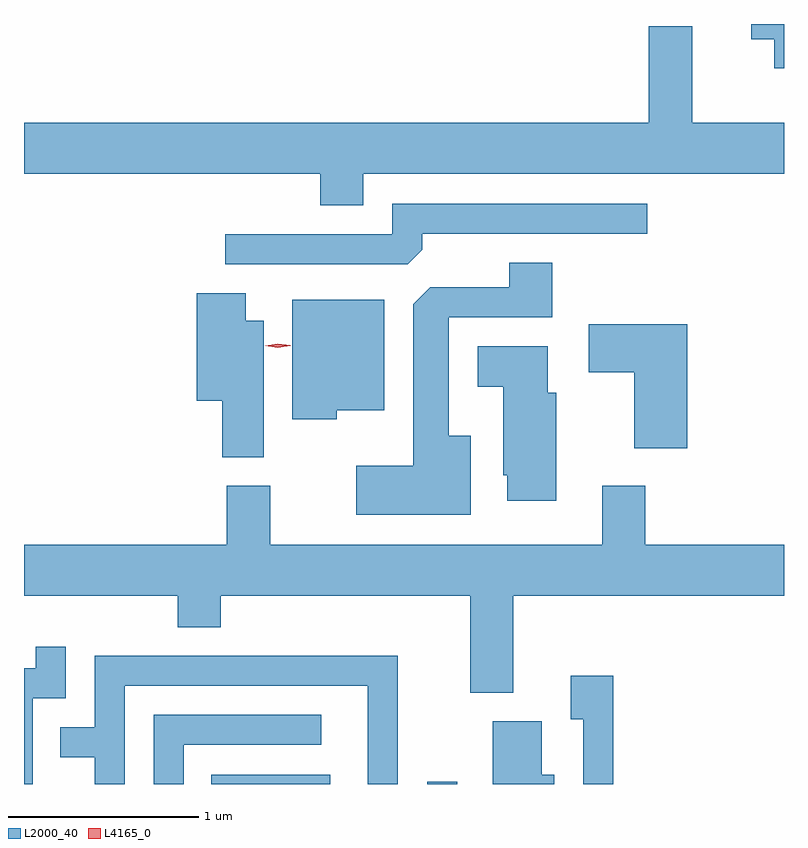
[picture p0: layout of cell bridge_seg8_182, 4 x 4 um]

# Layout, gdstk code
import gdstk
lib = gdstk.Library(unit=1e-6, precision=1e-09)
def R(c, l, rs):  # rectangles x0, y0, x1, y1
    for r in rs: c.add(gdstk.rectangle(r[:2], r[2:], *l))
def P(c, l, *ps):  # polygons
    for p in ps: c.add(gdstk.Polygon(p, *l))
L2000_40 = (2000, 40)
L4165_0 = (4165, 0)

bridge_seg8_182 = lib.new_cell('bridge_seg8_182')
R(bridge_seg8_182, L2000_40, [(1141.348,1886.485,1141.974,1886.534), (1142.486,1886.485,1142.644,1886.498)])
P(bridge_seg8_182, L2000_40, [(1144.363,1890.485),(1144.191,1890.485),(1144.191,1890.406),(1144.311,1890.406),(1144.311,1890.251),(1144.363,1890.251)],
  [(1142.149,1889.696),(1144.363,1889.696),(1144.363,1889.964),(1143.879,1889.964),(1143.879,1890.474),(1143.651,1890.474),(1143.651,1889.964),(1140.363,1889.964),(1140.363,1889.696),(1141.921,1889.696),(1141.921,1889.531),(1142.149,1889.531)],
  [(1142.459,1889.297),(1142.459,1889.381),(1143.643,1889.381),(1143.643,1889.539),(1142.301,1889.539),(1142.301,1889.379),(1141.423,1889.379),(1141.423,1889.221),(1142.384,1889.221)],
  [(1142.714,1888.319),(1142.599,1888.319),(1142.599,1888.941),(1143.144,1888.941),(1143.144,1889.229),(1142.916,1889.229),(1142.916,1889.099),(1142.502,1889.099),(1142.411,1889.009),(1142.411,1888.159),(1142.111,1888.159),(1142.111,1887.901),(1142.714,1887.901)],
  [(1141.624,1888.924),(1141.529,1888.924),(1141.529,1889.069),(1141.271,1889.069),(1141.271,1888.501),(1141.406,1888.501),(1141.406,1888.206),(1141.624,1888.206)],
  [(1142.009,1888.451),(1142.259,1888.451),(1142.259,1889.034),(1141.776,1889.034),(1141.776,1888.406),(1142.009,1888.406)],
  [(1143.854,1888.904),(1143.336,1888.904),(1143.336,1888.651),(1143.576,1888.651),(1143.576,1888.251),(1143.854,1888.251)],
  [(1143.164,1888.544),(1143.119,1888.544),(1143.119,1888.789),(1142.751,1888.789),(1142.751,1888.576),(1142.886,1888.576),(1142.886,1888.111),(1142.906,1888.111),(1142.906,1887.976),(1143.164,1887.976)],
  [(1142.939,1887.476),(1144.363,1887.476),(1144.363,1887.744),(1143.634,1887.744),(1143.634,1888.054),(1143.406,1888.054),(1143.406,1887.744),(1141.659,1887.744),(1141.659,1888.054),(1141.431,1888.054),(1141.431,1887.744),(1140.363,1887.744),(1140.363,1887.476),(1141.171,1887.476),(1141.171,1887.311),(1141.399,1887.311),(1141.399,1887.476),(1142.711,1887.476),(1142.711,1886.966),(1142.939,1886.966)],
  [(1140.409,1886.936),(1140.584,1886.936),(1140.584,1887.208),(1140.426,1887.208),(1140.426,1887.094),(1140.363,1887.094),(1140.363,1886.485),(1140.409,1886.485)],
  [(1140.894,1887.001),(1142.171,1887.001),(1142.171,1886.485),(1142.329,1886.485),(1142.329,1887.159),(1140.736,1887.159),(1140.736,1886.784),(1140.553,1886.784),(1140.553,1886.626),(1140.736,1886.626),(1140.736,1886.485),(1140.894,1886.485)],
  [(1143.464,1887.054),(1143.241,1887.054),(1143.241,1886.826),(1143.306,1886.826),(1143.306,1886.485),(1143.464,1886.485)],
  [(1141.204,1886.691),(1141.928,1886.691),(1141.928,1886.849),(1141.046,1886.849),(1141.046,1886.485),(1141.204,1886.485)],
  [(1143.154,1886.534),(1143.089,1886.534),(1143.089,1886.814),(1142.831,1886.814),(1142.831,1886.485),(1143.154,1886.485)])
P(bridge_seg8_182, L4165_0, [(1141.699,1888.782),(1141.633,1888.791),(1141.633,1888.791),(1141.633,1888.792),(1141.699,1888.802),(1141.765,1888.793),(1141.766,1888.792),(1141.765,1888.792)])

lib.write_gds('bridge_seg8_182.gds')
